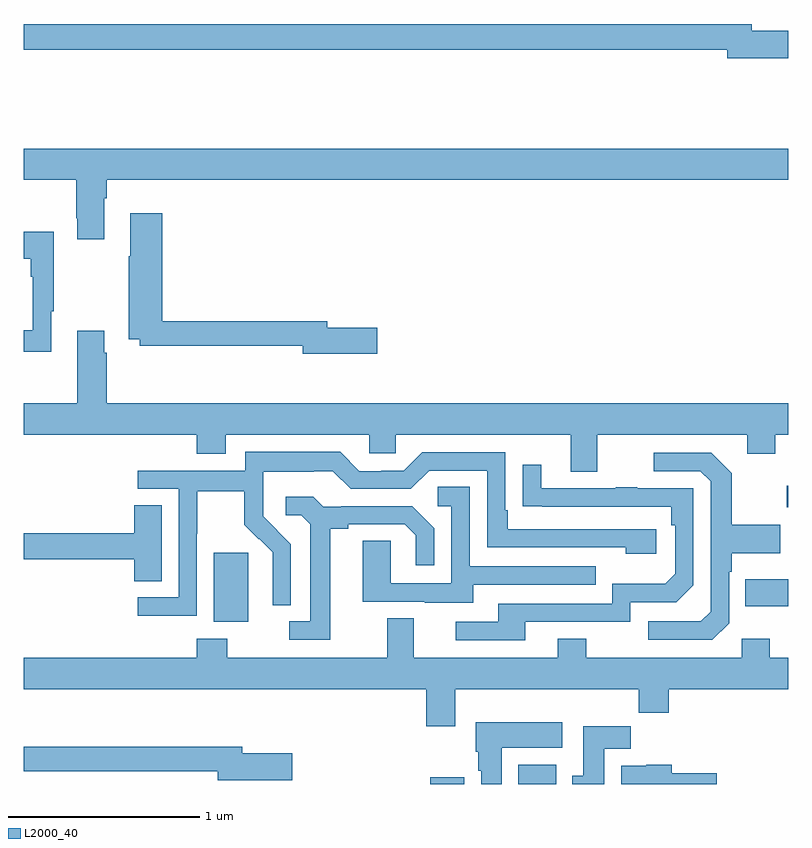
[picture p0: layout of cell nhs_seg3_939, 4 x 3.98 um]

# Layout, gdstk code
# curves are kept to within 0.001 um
import gdstk
lib = gdstk.Library(unit=1e-6, precision=1e-09)
def R(c, l, rs):  # rectangles x0, y0, x1, y1
    for r in rs: c.add(gdstk.rectangle(r[:2], r[2:], *l))
def P(c, l, *ps):  # polygons
    for p in ps: c.add(gdstk.Polygon(p, *l))
L2000_40 = (2000, 40)

nhs_seg3_939 = lib.new_cell('nhs_seg3_939')
R(nhs_seg3_939, L2000_40, [(161.126,720.4,161.305,720.436), (161.588,720.4,161.785,720.502), (159.995,721.25,160.174,721.611), (162.775,721.331,163,721.471), (162.993,721.847,163,721.96)])
P(nhs_seg3_939, L2000_40, [(163,724.34),(162.808,724.34),(162.808,724.376),(159,724.376),(159,724.24),(162.68,724.24),(162.68,724.198),(163,724.198)],
  [(159.421,723.464),(159.434,723.464),(159.434,723.56),(163,723.56),(163,723.724),(159,723.724),(159,723.56),(159.274,723.56),(159.274,723.361),(159.281,723.361),(159.281,723.249),(159.421,723.249)],
  [(160.849,722.786),(160.588,722.786),(160.588,722.822),(159.725,722.822),(159.725,723.385),(159.557,723.385),(159.557,723.161),(159.55,723.161),(159.55,722.726),(159.606,722.726),(159.606,722.694),(160.46,722.694),(160.46,722.651),(160.849,722.651)],
  [(159.145,722.873),(159.157,722.873),(159.157,723.289),(159,723.289),(159,723.149),(159.036,723.149),(159.036,723.053),(159.048,723.053),(159.048,722.774),(159,722.774),(159,722.661),(159.145,722.661)],
  [(162.001,722.228),(162.785,722.228),(162.785,722.129),(162.933,722.129),(162.933,722.228),(163,722.228),(163,722.392),(159.434,722.392),(159.434,722.657),(159.421,722.657),(159.421,722.77),(159.281,722.77),(159.281,722.392),(159,722.392),(159,722.228),(159.905,722.228),(159.905,722.129),(160.057,722.129),(160.057,722.228),(160.809,722.228),(160.809,722.13),(160.947,722.13),(160.947,722.228),(161.861,722.228),(161.861,722.034),(162.001,722.034)],
  [(159.906,721.708),(159.909,721.708),(159.909,721.932),(160.153,721.932),(160.153,721.757),(160.23,721.68),(160.233,721.683),(160.304,721.613),(160.304,721.49),(160.302,721.49),(160.302,721.336),(160.398,721.336),(160.398,721.654),(160.252,721.802),(160.252,721.899),(160.254,721.899),(160.254,722.033),(160.517,722.033),(160.517,722.037),(160.617,722.037),(160.71,721.944),(161.025,721.944),(161.121,722.04),(161.424,722.04),(161.424,721.638),(162.149,721.638),(162.149,721.604),(162.31,721.604),(162.31,721.734),(161.533,721.734),(161.533,721.831),(161.52,721.831),(161.52,722.136),(161.085,722.136),(160.989,722.04),(160.871,722.04),(160.871,722.037),(160.755,722.037),(160.655,722.137),(160.158,722.137),(160.158,722.04),(159.597,722.04),(159.597,721.944),(159.81,721.944),(159.81,721.377),(159.597,721.377),(159.597,721.279),(159.906,721.279)],
  [(162.69,721.242),(162.69,721.511),(162.703,721.511),(162.703,721.607),(162.959,721.607),(162.959,721.755),(162.703,721.755),(162.703,722.027),(162.597,722.133),(162.297,722.133),(162.297,722.037),(162.54,722.037),(162.594,721.983),(162.594,721.302),(162.543,721.251),(162.267,721.251),(162.267,721.155),(162.603,721.155)],
  [(161.623,721.248),(162.174,721.248),(162.174,721.35),(162.414,721.35),(162.504,721.44),(162.504,721.947),(162.209,721.947),(162.209,721.952),(162.097,721.952),(162.097,721.947),(161.707,721.947),(161.707,722.071),(161.611,722.071),(161.611,721.852),(162.388,721.851),(162.388,721.754),(162.408,721.754),(162.408,721.5),(162.355,721.447),(162.078,721.447),(162.078,721.344),(161.483,721.344),(161.483,721.248),(161.259,721.248),(161.259,721.152),(161.623,721.152)],
  [(161.353,721.443),(161.993,721.443),(161.993,721.539),(161.334,721.539),(161.334,721.955),(161.166,721.955),(161.166,721.854),(161.238,721.854),(161.238,721.449),(160.92,721.449),(160.92,721.673),(160.775,721.673),(160.775,721.353),(161.099,721.353),(161.099,721.349),(161.353,721.349)],
  [(160.603,721.736),(160.699,721.736),(160.699,721.758),(160.994,721.758),(161.051,721.701),(161.051,721.545),(161.148,721.545),(161.148,721.738),(161.032,721.854),(160.66,721.854),(160.66,721.851),(160.566,721.851),(160.514,721.903),(160.371,721.903),(160.371,721.806),(160.452,721.806),(160.499,721.759),(160.499,721.251),(160.389,721.251),(160.389,721.155),(160.603,721.155)],
  [(159.721,721.859),(159.578,721.859),(159.578,721.712),(159,721.712),(159,721.576),(159.578,721.576),(159.578,721.462),(159.721,721.462)],
  [(160.901,721.268),(160.901,721.06),(160.065,721.06),(160.065,721.159),(159.905,721.159),(159.905,721.06),(159,721.06),(159,720.896),(161.105,720.896),(161.105,720.702),(161.257,720.702),(161.257,720.896),(162.217,720.896),(162.217,720.772),(162.374,720.772),(162.374,720.896),(163,720.896),(163,721.06),(162.903,721.06),(162.903,721.159),(162.756,721.159),(162.756,721.06),(161.943,721.06),(161.943,721.159),(161.795,721.159),(161.795,721.06),(161.041,721.06),(161.041,721.268)],
  [(161.5,720.59),(161.818,720.59),(161.818,720.724),(161.366,720.724),(161.366,720.57),(161.378,720.57),(161.378,720.47),(161.393,720.47),(161.393,720.4),(161.5,720.4)],
  [(162.037,720.584),(162.176,720.584),(162.176,720.703),(161.927,720.703),(161.927,720.444),(161.87,720.444),(161.87,720.4),(162.037,720.4)],
  [(160.405,720.561),(160.144,720.561),(160.144,720.595),(159,720.595),(159,720.466),(160.016,720.466),(160.016,720.419),(160.405,720.419)],
  [(162.625,720.456),(162.389,720.456),(162.389,720.502),(162.258,720.502),(162.258,720.496),(162.125,720.496),(162.125,720.4),(162.625,720.4)])

lib.write_gds('nhs_seg3_939.gds')
